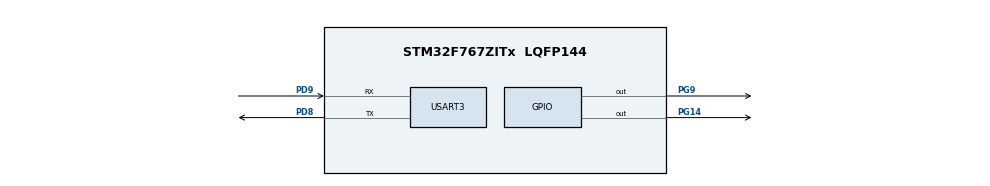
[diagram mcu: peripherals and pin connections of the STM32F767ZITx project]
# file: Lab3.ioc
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CORTEX_M7.default_mode_Activation=1
Mcu.Family=STM32F7
Mcu.Name=STM32F767ZITx
Mcu.Package=LQFP144
NVIC.PriorityGroup=NVIC_PRIORITYGROUP_4
PD8.Mode=Asynchronous
PD8.Signal=USART3_TX
PD9.Mode=Asynchronous
PD9.Signal=USART3_RX
PG14.Signal=GPIO_Output
PG9.Signal=GPIO_Output
ProjectManager.HeapSize=0x200
ProjectManager.StackSize=0x400
ProjectManager.TargetToolchain=STM32CubeIDE
RCC.HSE_VALUE=25000000
RCC.HSI_VALUE=16000000
RCC.LSE_VALUE=32768
RCC.USBFreq_Value=96000000
RCC.VCOOutputFreq_Value=192000000
USART3.VirtualMode-Asynchronous=VM_ASYNC
board=custom

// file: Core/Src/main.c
/* USER CODE BEGIN Header */
/**
  ******************************************************************************
  * @file           : main.c
  * @brief          : Main program body
  ******************************************************************************
  * @attention
  *
  * Copyright (c) 2025 STMicroelectronics.
  * All rights reserved.
  *
  * This software is licensed under terms that can be found in the LICENSE file
  * in the root directory of this software component.
  * If no LICENSE file comes with this software, it is provided AS-IS.
  *
  ******************************************************************************
  */
/* USER CODE END Header */
#include "main.h"
#include "usart.h"
#include "gpio.h"

/* USER CODE BEGIN Includes */
#include <string.h>
#include <stdio.h>
/* USER CODE END Includes */

void SystemClock_Config(void);
static void MPU_Config(void);
/* USER CODE BEGIN PFP */
void blinkLED(GPIO_TypeDef* port, uint16_t pin, int delay);
void transmitUART(UART_HandleTypeDef* huart, char* message, int timeout);
char receiveUART(UART_HandleTypeDef* huart, int timeout);
/* USER CODE END PFP */

int main(void)
{

  /* MPU Configuration--------------------------------------------------------*/
  MPU_Config();

  /* MCU Configuration--------------------------------------------------------*/

  /* Reset of all peripherals, Initializes the Flash interface and the Systick. */
  HAL_Init();

  /* Configure the system clock */
  SystemClock_Config();

  /* Initialize all configured peripherals */
  MX_GPIO_Init();
  MX_USART3_UART_Init();
  /* USER CODE BEGIN 2 */
  int ledDelay = 300;
  int timeout = 1000;
  transmitUART(&huart3, "Display Blinking LED PRESS (1, 2)\r\n", timeout);
  transmitUART(&huart3, "Display Group Members PRESS m\r\n", timeout);
  transmitUART(&huart3, "Quit PRESS q\r\n", timeout);
  /* USER CODE END 2 */

  /* Infinite loop */
  while (1)
  {

    /* USER CODE BEGIN 3 */
	if(__HAL_UART_GET_FLAG(&huart3, UART_FLAG_ORE)==SET){
		__HAL_UART_CLEAR_OREFLAG(&huart3);
	}
    transmitUART(&huart3, "        Input => ", timeout);

    while(__HAL_UART_GET_FLAG(&huart3, UART_FLAG_RXNE)==RESET){}
    char inp = receiveUART(&huart3, timeout);
    HAL_UART_Transmit(&huart3, (uint8_t*)&inp, 1, timeout);

    while(__HAL_UART_GET_FLAG(&huart3, UART_FLAG_TC)==RESET){}

    transmitUART(&huart3, "\r\n", timeout);

    int exit = 0;
    char* outp = "";
    switch (inp){
      case '1':
        blinkLED(GPIOG, GPIO_PIN_9, ledDelay);
        break;
      case '2':
        blinkLED(GPIOG, GPIO_PIN_14, ledDelay);
        break;
      case 'm':
        outp = "66010544\r\nPasut Siriwan\r\n66010704\r\nRattaphum Kaenmuang\r\n";
        break;
      case 'q':
        outp = "QUIT\r\n";
        exit = 1;
        break;
      default:
        outp = "Unknown Command\r\n";
        break;
    }
    transmitUART(&huart3, outp, timeout);
    if (exit) return 1;
  }
  /* USER CODE END 3 */
}

void SystemClock_Config(void)
{
  RCC_OscInitTypeDef RCC_OscInitStruct = {0};
  RCC_ClkInitTypeDef RCC_ClkInitStruct = {0};

  /** Configure the main internal regulator output voltage
  */
  __HAL_RCC_PWR_CLK_ENABLE();
  __HAL_PWR_VOLTAGESCALING_CONFIG(PWR_REGULATOR_VOLTAGE_SCALE3);

  /** Initializes the RCC Oscillators according to the specified parameters
  * in the RCC_OscInitTypeDef structure.
  */
  RCC_OscInitStruct.OscillatorType = RCC_OSCILLATORTYPE_HSI;
  RCC_OscInitStruct.HSIState = RCC_HSI_ON;
  RCC_OscInitStruct.HSICalibrationValue = RCC_HSICALIBRATION_DEFAULT;
  RCC_OscInitStruct.PLL.PLLState = RCC_PLL_NONE;
  if (HAL_RCC_OscConfig(&RCC_OscInitStruct) != HAL_OK)
  {
    Error_Handler();
  }

  /** Initializes the CPU, AHB and APB buses clocks
  */
  RCC_ClkInitStruct.ClockType = RCC_CLOCKTYPE_HCLK|RCC_CLOCKTYPE_SYSCLK
                              |RCC_CLOCKTYPE_PCLK1|RCC_CLOCKTYPE_PCLK2;
  RCC_ClkInitStruct.SYSCLKSource = RCC_SYSCLKSOURCE_HSI;
  RCC_ClkInitStruct.AHBCLKDivider = RCC_SYSCLK_DIV1;
  RCC_ClkInitStruct.APB1CLKDivider = RCC_HCLK_DIV1;
  RCC_ClkInitStruct.APB2CLKDivider = RCC_HCLK_DIV1;

  if (HAL_RCC_ClockConfig(&RCC_ClkInitStruct, FLASH_LATENCY_0) != HAL_OK)
  {
    Error_Handler();
  }
}

/* USER CODE BEGIN 4 */
void blinkLED(GPIO_TypeDef* port, uint16_t pin, int delay){
  for (int i=0; i<3; i++){
    HAL_GPIO_WritePin(port, pin, GPIO_PIN_SET);
    HAL_Delay(delay);
    HAL_GPIO_WritePin(port, pin, GPIO_PIN_RESET);
    HAL_Delay(delay);
  }
}

void transmitUART(UART_HandleTypeDef* huart, char* message, int timeout){
  while(__HAL_UART_GET_FLAG(&huart3, UART_FLAG_TC)==RESET){}
  HAL_UART_Transmit(huart, (uint8_t*)message, strlen(message), timeout);
}

char receiveUART(UART_HandleTypeDef* huart, int timeout){
  while(__HAL_UART_GET_FLAG(&huart3, UART_FLAG_RXNE)==RESET){}
  char c;
  HAL_UART_Receive(huart, (uint8_t*)&c, 1, timeout);
  return c;
}
/* USER CODE END 4 */

 /* MPU Configuration */

void MPU_Config(void)
{
  MPU_Region_InitTypeDef MPU_InitStruct = {0};

  /* Disables the MPU */
  HAL_MPU_Disable();

  /** Initializes and configures the Region and the memory to be protected
  */
  MPU_InitStruct.Enable = MPU_REGION_ENABLE;
  MPU_InitStruct.Number = MPU_REGION_NUMBER0;
  MPU_InitStruct.BaseAddress = 0x0;
  MPU_InitStruct.Size = MPU_REGION_SIZE_4GB;
  MPU_InitStruct.SubRegionDisable = 0x87;
  MPU_InitStruct.TypeExtField = MPU_TEX_LEVEL0;
  MPU_InitStruct.AccessPermission = MPU_REGION_NO_ACCESS;
  MPU_InitStruct.DisableExec = MPU_INSTRUCTION_ACCESS_DISABLE;
  MPU_InitStruct.IsShareable = MPU_ACCESS_SHAREABLE;
  MPU_InitStruct.IsCacheable = MPU_ACCESS_NOT_CACHEABLE;
  MPU_InitStruct.IsBufferable = MPU_ACCESS_NOT_BUFFERABLE;

  HAL_MPU_ConfigRegion(&MPU_InitStruct);
  /* Enables the MPU */
  HAL_MPU_Enable(MPU_PRIVILEGED_DEFAULT);

}

void Error_Handler(void)
{
  __disable_irq();
  while (1)
  {
  }
}
